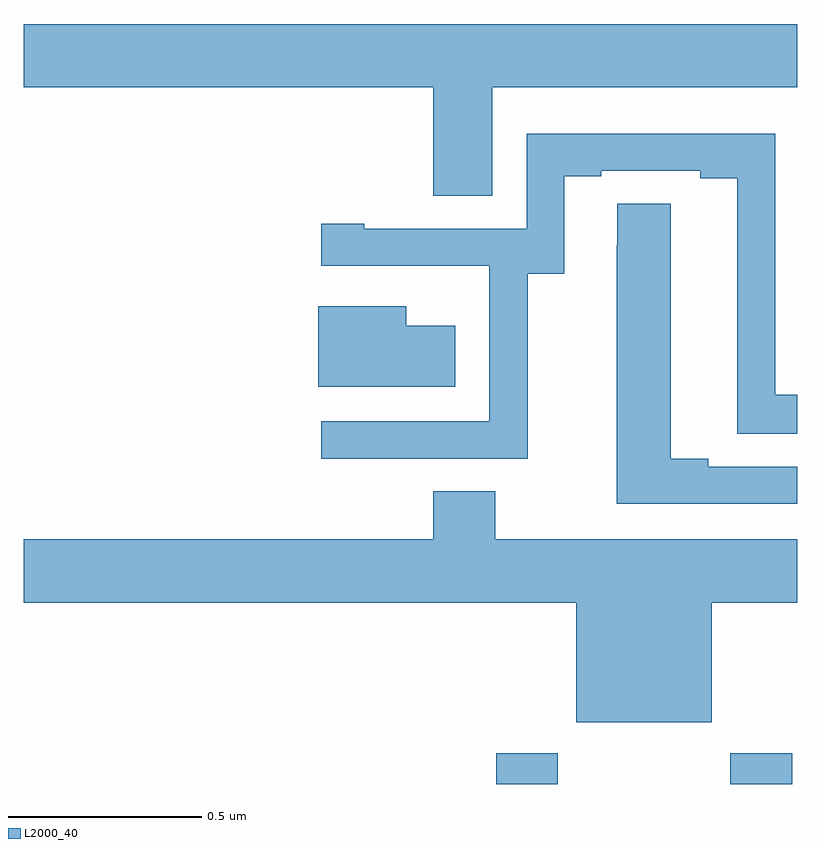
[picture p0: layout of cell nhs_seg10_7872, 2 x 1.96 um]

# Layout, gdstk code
import gdstk
lib = gdstk.Library(unit=1e-6, precision=1e-09)
def R(c, l, rs):  # rectangles x0, y0, x1, y1
    for r in rs: c.add(gdstk.rectangle(r[:2], r[2:], *l))
def P(c, l, *ps):  # polygons
    for p in ps: c.add(gdstk.Polygon(p, *l))
L2000_40 = (2000, 40)

nhs_seg10_7872 = lib.new_cell('nhs_seg10_7872')
R(nhs_seg10_7872, L2000_40, [(210.221,1314.5,210.381,1314.58), (210.826,1314.5,210.986,1314.58)])
P(nhs_seg10_7872, L2000_40, [(210.211,1316.3),(211,1316.3),(211,1316.464),(209,1316.464),(209,1316.3),(210.059,1316.3),(210.059,1316.02),(210.211,1316.02)],
  [(210.303,1315.819),(210.397,1315.819),(210.397,1316.07),(210.493,1316.07),(210.493,1316.085),(210.749,1316.085),(210.749,1316.065),(210.845,1316.065),(210.845,1315.405),(211,1315.405),(211,1315.506),(210.942,1315.506),(210.942,1316.181),(210.3,1316.181),(210.3,1315.935),(209.881,1315.935),(209.881,1315.948),(209.769,1315.948),(209.769,1315.839),(210.203,1315.839),(210.203,1315.838),(210.204,1315.838),(210.204,1315.437),(209.769,1315.437),(209.769,1315.341),(210.303,1315.341)],
  [(211,1315.32),(210.769,1315.32),(210.769,1315.34),(210.673,1315.34),(210.673,1316),(210.534,1316),(210.534,1315.892),(210.533,1315.892),(210.533,1315.224),(211,1315.224)],
  [(210.115,1315.684),(209.989,1315.684),(209.989,1315.735),(209.762,1315.735),(209.762,1315.526),(210.115,1315.526)],
  [(210.778,1314.968),(211,1314.968),(211,1315.132),(210.219,1315.132),(210.219,1315.256),(210.059,1315.256),(210.059,1315.132),(209,1315.132),(209,1314.968),(210.428,1314.968),(210.428,1314.659),(210.778,1314.659)])

lib.write_gds('nhs_seg10_7872.gds')
